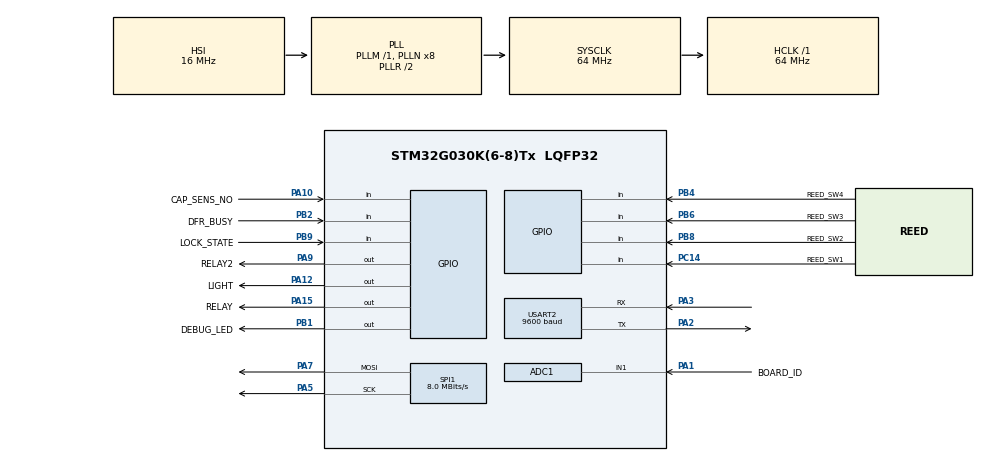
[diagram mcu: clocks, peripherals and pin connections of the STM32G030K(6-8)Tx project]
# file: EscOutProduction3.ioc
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ADC1.Channel-0\#ChannelRegularConversion=ADC_CHANNEL_1
ADC1.NbrOfConversionFlag=1
ADC1.Rank-0\#ChannelRegularConversion=1
ADC1.SamplingTime-0\#ChannelRegularConversion=ADC_SAMPLINGTIME_COMMON_1
ADC1.SamplingTimeCommon1=ADC_SAMPLETIME_160CYCLES_5
ADC1.SelectedChannel=ADC_CHANNEL_1
ADC1.master=1
Dma.Request0=SPI1_TX
Dma.SPI1_TX.0.Direction=DMA_MEMORY_TO_PERIPH
Dma.SPI1_TX.0.EventEnable=DISABLE
Dma.SPI1_TX.0.Instance=DMA1_Channel1
Dma.SPI1_TX.0.MemDataAlignment=DMA_MDATAALIGN_BYTE
Dma.SPI1_TX.0.MemInc=DMA_MINC_ENABLE
Dma.SPI1_TX.0.Mode=DMA_NORMAL
Dma.SPI1_TX.0.PeriphDataAlignment=DMA_PDATAALIGN_BYTE
Dma.SPI1_TX.0.PeriphInc=DMA_PINC_DISABLE
Dma.SPI1_TX.0.Polarity=HAL_DMAMUX_REQ_GEN_RISING
Dma.SPI1_TX.0.Priority=DMA_PRIORITY_VERY_HIGH
Dma.SPI1_TX.0.RequestNumber=1
Dma.SPI1_TX.0.SignalID=NONE
Dma.SPI1_TX.0.SyncEnable=DISABLE
Dma.SPI1_TX.0.SyncPolarity=HAL_DMAMUX_SYNC_NO_EVENT
Dma.SPI1_TX.0.SyncRequestNumber=1
Dma.SPI1_TX.0.SyncSignalID=NONE
IWDG.Prescaler=IWDG_PRESCALER_16
Mcu.Family=STM32G0
Mcu.Name=STM32G030K(6-8)Tx
Mcu.Package=LQFP32
NVIC.DMA1_Channel1_IRQn=true\:0\:0\:false\:false\:true\:false\:true\:true
PA1.GPIO_Label=BOARD_ID
PA1.Mode=IN1
PA1.Signal=ADC1_IN1
PA10.GPIO_Label=CAP_SENS_NO
PA10.Signal=GPIO_Input
PA12\ [PA10].GPIO_Label=LIGHT
PA12\ [PA10].Signal=GPIO_Output
PA13.Mode=Serial_Wire
PA13.Signal=SYS_SWDIO
PA14-BOOT0.Mode=Serial_Wire
PA14-BOOT0.Signal=SYS_SWCLK
PA15.GPIO_Label=RELAY
PA15.Signal=GPIO_Output
PA2.Mode=Asynchronous
PA2.Signal=USART2_TX
PA3.Mode=Asynchronous
PA3.Signal=USART2_RX
PA5.Mode=TX_Only_Simplex_Unidirect_Master
PA5.Signal=SPI1_SCK
PA7.GPIO_PuPd=GPIO_NOPULL
PA7.Mode=TX_Only_Simplex_Unidirect_Master
PA7.Signal=SPI1_MOSI
PA9.GPIO_Label=RELAY2
PA9.GPIO_PuPd=GPIO_NOPULL
PA9.Signal=GPIO_Output
PB1.GPIO_Label=DEBUG_LED
PB1.Signal=GPIO_Output
PB2.GPIO_Label=DFR_BUSY
PB2.Signal=GPIO_Input
PB4.GPIO_Label=REED_SW4
PB4.Signal=GPIO_Input
PB6.GPIO_Label=REED_SW3
PB6.Signal=GPIO_Input
PB8.GPIO_Label=REED_SW2
PB8.Signal=GPIO_Input
PB9.GPIO_Label=LOCK_STATE
PB9.Signal=GPIO_Input
PC14-OSC32_IN\ (PC14).GPIO_Label=REED_SW1
PC14-OSC32_IN\ (PC14).Signal=GPIO_Input
ProjectManager.HeapSize=0x200
ProjectManager.StackSize=0x400
ProjectManager.TargetToolchain=STM32CubeIDE
RCC.ADCFreq_Value=64000000
RCC.AHBFreq_Value=64000000
RCC.CortexFreq_Value=64000000
RCC.EXTERNAL_CLOCK_VALUE=12288000
RCC.HCLKFreq_Value=64000000
RCC.HSE_VALUE=8000000
RCC.HSI_VALUE=16000000
RCC.LSE_VALUE=32768
RCC.SYSCLKFreq_VALUE=64000000
RCC.SYSCLKSource=RCC_SYSCLKSOURCE_PLLCLK
RCC.VCOOutputFreq_Value=128000000
SPI1.BaudRatePrescaler=SPI_BAUDRATEPRESCALER_8
SPI1.CalculateBaudRate=8.0 MBits/s
SPI1.Direction=SPI_DIRECTION_2LINES
SPI1.Mode=SPI_MODE_MASTER
SPI1.VirtualType=VM_MASTER
USART2.BaudRate=9600
USART2.VirtualMode-Asynchronous=VM_ASYNC
VP_IWDG_VS_IWDG.Mode=IWDG_Activate
board=custom

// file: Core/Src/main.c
/* USER CODE BEGIN Header */
/**
  ******************************************************************************
  * @file           : main.c
  * @brief          : Main program body
  ******************************************************************************
  * @attention
  *
  * Copyright (c) 2023 STMicroelectronics.
  * All rights reserved.
  *
  * This software is licensed under terms that can be found in the LICENSE file
  * in the root directory of this software component.
  * If no LICENSE file comes with this software, it is provided AS-IS.
  *
  ******************************************************************************
  */
/* USER CODE END Header */
#include "main.h"
#include "adc.h"
#include "dma.h"
#include "iwdg.h"
#include "spi.h"
#include "usart.h"
#include "gpio.h"

/* USER CODE BEGIN Includes */
#include "app/reed_sw_colors.h"
#include "app/cap_sense_player.h"
#include "app/door.h"
#include "app/board_id.h"
#include "app/reset.h"
#include "app/watchdog.h"

/* USER CODE END Includes */

/* USER CODE BEGIN PV */
board_id_t board_id = BOARD_NOT_DEFINED;
/* USER CODE END PV */

void SystemClock_Config(void);
/* USER CODE BEGIN PFP */
void DEBUG_LED_Blink(uint8_t blink_times);
/* USER CODE END PFP */

int main(void)
{

  /* MCU Configuration--------------------------------------------------------*/

  /* Reset of all peripherals, Initializes the Flash interface and the Systick. */
  HAL_Init();

  /* Configure the system clock */
  SystemClock_Config();

  /* Initialize all configured peripherals */
  MX_GPIO_Init();
  MX_DMA_Init();
  MX_SPI1_Init();
  MX_USART2_UART_Init();
  MX_ADC1_Init();
  MX_IWDG_Init();
  /* USER CODE BEGIN 2 */
  __HAL_DBGMCU_FREEZE_IWDG();
  BOARD_ID_Init(&hadc1, ADC_CHANNEL_1);
  board_id = BOARD_ID_GetBoardID();
  if(board_id == BOARD_IS_REED_SWITCH_COLORS)
  {
	  DEBUG_LED_Blink(1);
	  REED_SW_COLORS_Init();
  }
  else if(board_id == BOARD_IS_CAP_SENSE_PLAYER)
  {
	  DEBUG_LED_Blink(2);
	  CAP_SENSE_PLAYER_Init();
	  DOOR_Open();
  }
  else
  {
	  DEBUG_LED_Blink(4);
	  Error_Handler();
  }

  /* USER CODE END 2 */

  /* Infinite loop */
  /* USER CODE BEGIN WHILE */
  while (1)
  {
	  if(board_id == BOARD_IS_REED_SWITCH_COLORS)
	  {
		  REED_SW_COLORS_Process();
		  DOOR_Process(ELECTROMAGNET);
	  }

	  else if(board_id == BOARD_IS_CAP_SENSE_PLAYER)
	  {
		  CAP_SENSE_PLAYER_Process();
		  DOOR_Process(LOCK);
	  }

	  WATCHDOG_Refresh();
    /* USER CODE END WHILE */

  }
}

void SystemClock_Config(void)
{
  RCC_OscInitTypeDef RCC_OscInitStruct = {0};
  RCC_ClkInitTypeDef RCC_ClkInitStruct = {0};

  /** Configure the main internal regulator output voltage
  */
  HAL_PWREx_ControlVoltageScaling(PWR_REGULATOR_VOLTAGE_SCALE1);

  /** Initializes the RCC Oscillators according to the specified parameters
  * in the RCC_OscInitTypeDef structure.
  */
  RCC_OscInitStruct.OscillatorType = RCC_OSCILLATORTYPE_HSI|RCC_OSCILLATORTYPE_LSI;
  RCC_OscInitStruct.HSIState = RCC_HSI_ON;
  RCC_OscInitStruct.HSIDiv = RCC_HSI_DIV1;
  RCC_OscInitStruct.HSICalibrationValue = RCC_HSICALIBRATION_DEFAULT;
  RCC_OscInitStruct.LSIState = RCC_LSI_ON;
  RCC_OscInitStruct.PLL.PLLState = RCC_PLL_ON;
  RCC_OscInitStruct.PLL.PLLSource = RCC_PLLSOURCE_HSI;
  RCC_OscInitStruct.PLL.PLLM = RCC_PLLM_DIV1;
  RCC_OscInitStruct.PLL.PLLN = 8;
  RCC_OscInitStruct.PLL.PLLP = RCC_PLLP_DIV2;
  RCC_OscInitStruct.PLL.PLLR = RCC_PLLR_DIV2;
  if (HAL_RCC_OscConfig(&RCC_OscInitStruct) != HAL_OK)
  {
    Error_Handler();
  }

  /** Initializes the CPU, AHB and APB buses clocks
  */
  RCC_ClkInitStruct.ClockType = RCC_CLOCKTYPE_HCLK|RCC_CLOCKTYPE_SYSCLK
                              |RCC_CLOCKTYPE_PCLK1;
  RCC_ClkInitStruct.SYSCLKSource = RCC_SYSCLKSOURCE_PLLCLK;
  RCC_ClkInitStruct.AHBCLKDivider = RCC_SYSCLK_DIV1;
  RCC_ClkInitStruct.APB1CLKDivider = RCC_HCLK_DIV1;

  if (HAL_RCC_ClockConfig(&RCC_ClkInitStruct, FLASH_LATENCY_2) != HAL_OK)
  {
    Error_Handler();
  }
}

/* USER CODE BEGIN 4 */
void DEBUG_LED_Blink(uint8_t blink_times)
{
	for(uint8_t i=0; i<blink_times*2; i++)
	{
		HAL_GPIO_TogglePin(DEBUG_LED_GPIO_Port, DEBUG_LED_Pin);
		HAL_Delay(250);
		WATCHDOG_Refresh();
	}
}
/* USER CODE END 4 */

void Error_Handler(void)
{
  __disable_irq();
  while (1)
  {
  }
}
